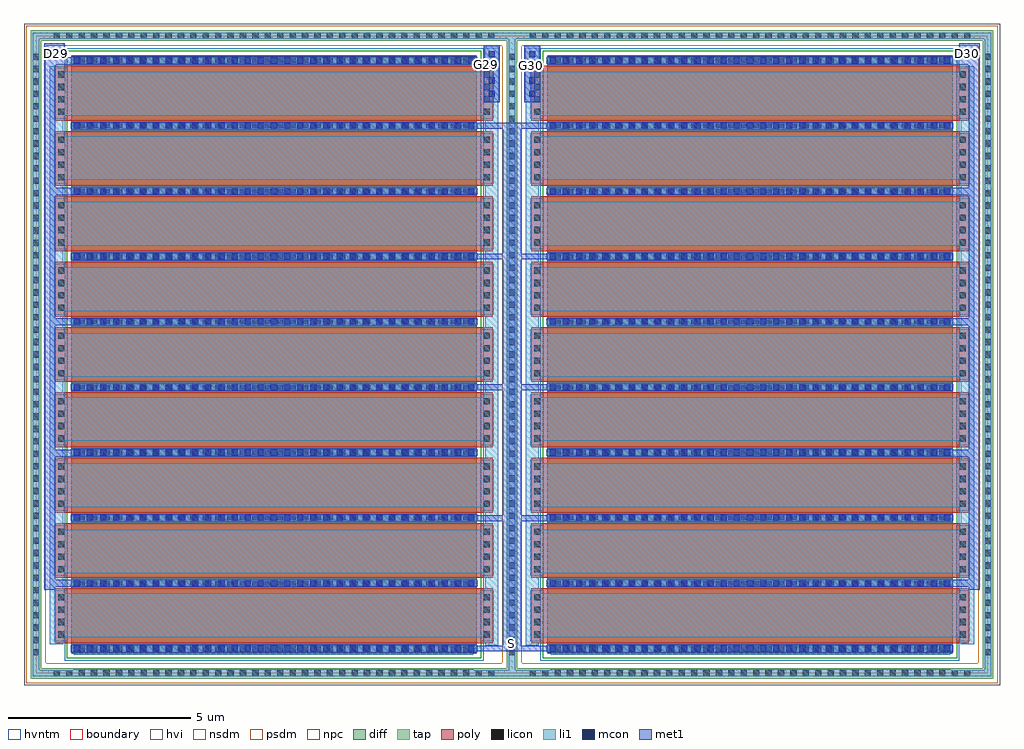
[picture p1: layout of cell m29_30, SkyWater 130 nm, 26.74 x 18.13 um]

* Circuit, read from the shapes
.subckt m29_30 D29 D30 G29 G30 S
XM1 D29 G29 S VSUBS sky130_fd_pr__nfet_g5v0d10v5 w=11.11 l=1.5 m=9
XM2 D30 G30 S VSUBS sky130_fd_pr__nfet_g5v0d10v5 w=11.11 l=1.5 m=9
.ends

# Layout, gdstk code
from math import pi, radians
import gdstk
lib = gdstk.Library(unit=1e-6, precision=1e-09)
def R(c, l, rs):  # rectangles x0, y0, x1, y1
    for r in rs: c.add(gdstk.rectangle(r[:2], r[2:], *l))
def A(c, l, x, y, w, h, nx, ny, dx, dy):  # array of equal rectangles
    R(c, l, [(x+i*dx, y+j*dy, x+i*dx+w, y+j*dy+h) for i in range(nx) for j in range(ny)])
diff = (65, 20)
tap = (65, 44)
poly = (66, 20)
licon = (66, 44)
li1 = (67, 20)
mcon = (67, 44)
met1 = (68, 20)
hvi = (75, 20)
nsdm = (93, 44)
psdm = (94, 20)
npc = (95, 20)
hvntm = (125, 20)
boundary = (235, 4)

sky130_fd_pr__nfet_g5v0d = lib.new_cell('sky130_fd_pr__nfet_g5v0d10v5_XH6BGL')
R(sky130_fd_pr__nfet_g5v0d, diff, [(-8.2,-5.555,8.2,5.555)])
R(sky130_fd_pr__nfet_g5v0d, tap, [(-8.88,-6.665,8.88,-6.375), (-8.88,-6.375,-8.59,6.375), (8.59,-6.375,8.88,6.375), (-8.88,6.375,8.88,6.665)])
A(sky130_fd_pr__nfet_g5v0d, poly, -7.91, -5.995, 1.5, 11.99, 9, 1, 1.79, 0)
A(sky130_fd_pr__nfet_g5v0d, licon, -8.245, -6.605, 0.17, 0.17, 49, 2, 0.34, 13.04)
A(sky130_fd_pr__nfet_g5v0d, licon, -8.82, -6.035, 0.17, 0.17, 1, 36, 0, 0.34)
A(sky130_fd_pr__nfet_g5v0d, licon, 8.65, -6.035, 0.17, 0.17, 1, 36, 0, 0.34)
A(sky130_fd_pr__nfet_g5v0d, licon, -7.755, -5.915, 0.17, 0.17, 4, 2, 0.34, 11.66)
A(sky130_fd_pr__nfet_g5v0d, licon, -5.965, -5.915, 0.17, 0.17, 4, 2, 0.34, 11.66)
A(sky130_fd_pr__nfet_g5v0d, licon, -4.175, -5.915, 0.17, 0.17, 4, 2, 0.34, 11.66)
A(sky130_fd_pr__nfet_g5v0d, licon, -2.385, -5.915, 0.17, 0.17, 4, 2, 0.34, 11.66)
A(sky130_fd_pr__nfet_g5v0d, licon, -0.595, -5.915, 0.17, 0.17, 4, 2, 0.34, 11.66)
A(sky130_fd_pr__nfet_g5v0d, licon, 1.195, -5.915, 0.17, 0.17, 4, 2, 0.34, 11.66)
A(sky130_fd_pr__nfet_g5v0d, licon, 2.985, -5.915, 0.17, 0.17, 4, 2, 0.34, 11.66)
A(sky130_fd_pr__nfet_g5v0d, licon, 4.775, -5.915, 0.17, 0.17, 4, 2, 0.34, 11.66)
A(sky130_fd_pr__nfet_g5v0d, licon, 6.565, -5.915, 0.17, 0.17, 4, 2, 0.34, 11.66)
A(sky130_fd_pr__nfet_g5v0d, licon, -8.14, -5.355, 0.17, 0.17, 10, 32, 1.79, 0.34)
A(sky130_fd_pr__nfet_g5v0d, li1, -7.91, -5.78, 1.5, 0.035, 9, 1, 1.79, 0)
A(sky130_fd_pr__nfet_g5v0d, li1, -5.985, -5.745, 1.2, 11.49, 4, 1, 1.8, 0)
A(sky130_fd_pr__nfet_g5v0d, li1, -8.14, -5.575, 0.17, 11.15, 9, 1, 1.79, 0)
A(sky130_fd_pr__nfet_g5v0d, li1, -6.12, 5.745, 1.5, 0.045, 8, 1, 1.79, 0)
R(sky130_fd_pr__nfet_g5v0d, li1, [(-8.82,-6.605,8.82,-6.435), (-8.82,-6.435,-8.65,6.435), (8.65,-6.435,8.82,-5.49), (-7.895,-6.14,7.945,-5.915), (-7.91,-5.915,7.945,-5.78), (-7.745,-5.745,-6.545,5.745), (1.165,-5.745,2.365,5.745), (2.985,-5.745,4.185,5.745), (4.795,-5.745,5.995,5.745), (6.545,-5.745,7.745,5.745), (7.97,-5.575,8.14,-5.49), (7.97,-5.49,8.225,5.46), (8.625,-5.49,8.82,5.46), (7.97,5.46,8.14,5.575), (8.65,5.46,8.82,6.435), (-7.91,5.745,-6.41,5.77), (-8.405,5.77,-6.41,5.79), (-8.405,5.79,7.965,6.15), (-8.405,6.15,-6.965,6.16), (-8.82,6.435,8.82,6.605)])
A(sky130_fd_pr__nfet_g5v0d, mcon, -8.14, -5.485, 0.17, 0.17, 10, 31, 1.79, 0.36)
A(sky130_fd_pr__nfet_g5v0d, mcon, -8.31, 5.88, 0.17, 0.17, 4, 1, 0.36, 0)
A(sky130_fd_pr__nfet_g5v0d, met1, -8.17, -5.555, 0.23, 11.11, 6, 1, 1.79, 0)
A(sky130_fd_pr__nfet_g5v0d, met1, 4.36, -5.555, 0.23, 11.11, 3, 1, 1.79, 0)
A(sky130_fd_pr__nfet_g5v0d, met1, -6.345, 5.555, 0.16, 0.705, 3, 1, 3.58, 0)
R(sky130_fd_pr__nfet_g5v0d, met1, [(-8.525,-6.29,6.445,-5.99), (-8.525,-5.99,-7.945,-5.74), (-4.565,-5.99,-4.365,-5.555), (-0.995,-5.99,-0.795,-5.555), (2.605,-5.99,2.805,-5.555), (6.165,-5.99,6.365,-5.555), (-8.145,-5.74,-7.945,-5.555), (2.57,-5.555,2.805,-5.42), (2.57,-5.42,2.8,5.555), (4.405,5.555,4.565,6.26), (7.975,5.555,8.135,6.26), (-8.465,5.74,-6.905,6.19), (-6.345,6.26,8.135,6.32), (-6.335,6.32,8.135,6.5), (7.975,6.5,8.135,6.51)])
R(sky130_fd_pr__nfet_g5v0d, hvi, [(-9.065,-6.85,9.065,6.85)])
R(sky130_fd_pr__nfet_g5v0d, nsdm, [(-8.325,-5.68,8.325,5.68)])
R(sky130_fd_pr__nfet_g5v0d, psdm, [(-9.005,-6.79,9.005,-6.25), (-9.005,-6.25,-8.465,6.25), (8.465,-6.25,9.005,6.25), (-9.005,6.25,9.005,6.79)])
A(sky130_fd_pr__nfet_g5v0d, npc, -7.855, -6.015, 1.39, 0.37, 9, 2, 1.79, 11.66)
R(sky130_fd_pr__nfet_g5v0d, hvntm, [(-8.385,-5.74,8.385,5.74)])
R(sky130_fd_pr__nfet_g5v0d, boundary, [(-8.735,-6.52,8.735,6.52)])

m29_30 = lib.new_cell('m29_30')
R(m29_30, met1, [(56.8,33.29,57.09,33.3), (56.69,33.3,57.14,47.62), (56.68,47.62,57.26,47.77), (56.18,48.58,56.43,49.69), (57.4,48.69,57.65,49.8), (44.2,49.43,44.68,49.88), (69.24,49.51,69.68,49.89)])
m29_30.add(gdstk.Reference(sky130_fd_pr__nfet_g5v0d, (63.47,41.425), rotation=3*pi/2, x_reflection=True))
m29_30.add(gdstk.Reference(sky130_fd_pr__nfet_g5v0d, (50.43,41.425), rotation=3*pi/2))
m29_30.add(gdstk.Label('S', (56.94,33.51), layer=68, texttype=5))
m29_30.add(gdstk.Label('G30', (57.48,49.33), layer=68, texttype=5))
m29_30.add(gdstk.Label('G29', (56.24,49.38), layer=68, texttype=5))
m29_30.add(gdstk.Label('D29', (44.46,49.66), layer=68, texttype=5))
m29_30.add(gdstk.Label('D30', (69.44,49.68), layer=68, texttype=5))

lib.write_gds('m29_30.gds')
